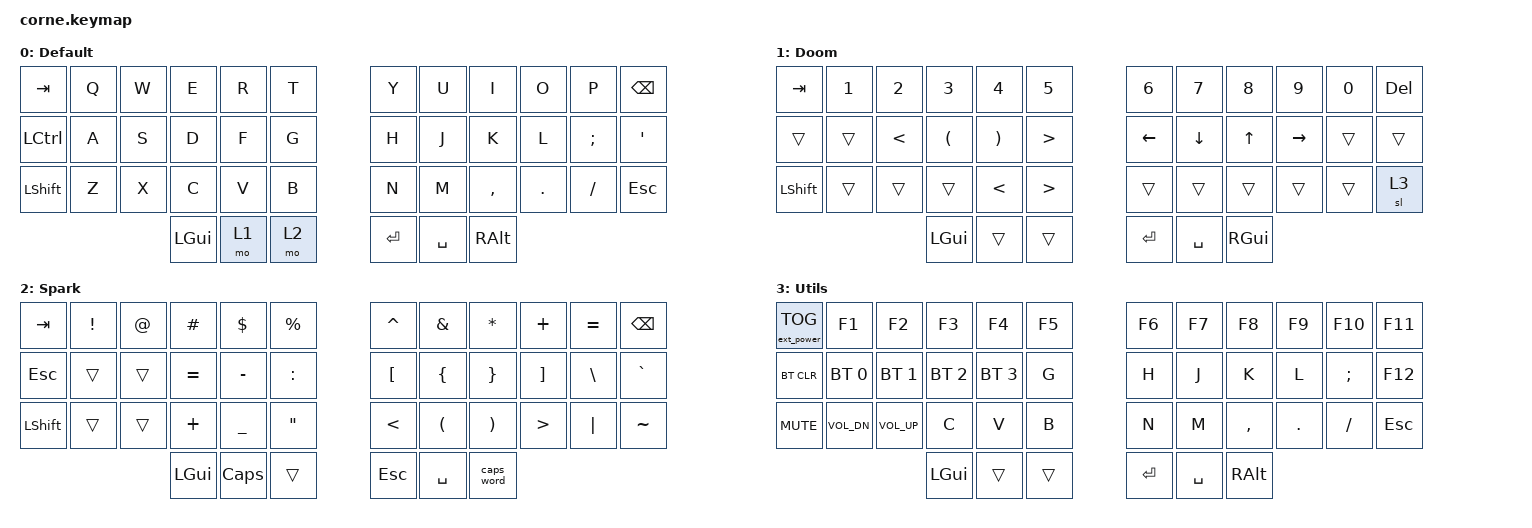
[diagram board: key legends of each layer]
/*
 * Copyright (c) 2020 The ZMK Contributors
 *
 * SPDX-License-Identifier: MIT
 */

#include <behaviors.dtsi>
#include <dt-bindings/zmk/keys.h>
#include <dt-bindings/zmk/bt.h>
#include <dt-bindings/zmk/ext_power.h>

/ {
        keymap {
                compatible = "zmk,keymap";

                default_layer {
                        display-name = "Default";
// -----------------------------------------------------------------------------------------
// |  TAB |  Q  |  W  |  E  |  R  |  T  |   |  Y  |  U  |  I  |  O  |  P  | BSPC |
// | CTRL |  A  |  S  |  D  |  F  |  G  |   |  H  |  J  |  K  |  L  |  ;  |  '   |
// | SHFT |  Z  |  X  |  C  |  V  |  B  |   |  N  |  M  |  ,  |  .  |  /  | ESC  |
//                    | GUI | LWR | SPC |   | ENT | RSE | ALT |
                        bindings = <
    &kp TAB    &kp Q     &kp W     &kp E      &kp R      &kp T        &kp Y      &kp U      &kp I      &kp O      &kp P     &kp BSPC
    &kp LCTRL  &kp A     &kp S     &kp D      &kp F      &kp G        &kp H      &kp J      &kp K      &kp L      &kp SEMI  &kp SQT
    &kp LSHFT  &kp Z     &kp X     &kp C      &kp V      &kp B        &kp N      &kp M      &kp COMMA  &kp DOT    &kp FSLH  &kp ESC
                                   &kp LGUI   &mo 1      &mo 2        &kp RET    &kp SPACE  &kp RALT
                        >;
                };

                lower_layer {
                        display-name = "Doom";
// -----------------------------------------------------------------------------------------
// |  TAB |  1  |  2  |  3  |  4  |  5  |   |  6  |  7  |  8  |  9  |  0  | DEL  |
// | TRNS |TRNS |  <  |  (  |  )  |  >  |   | LFT | DWN | UP  | RGT |TRNS | TRNS |
// | SHFT |TRNS |TRNS |TRNS |  <  |  >  |   |TRNS |TRNS |TRNS |TRNS |TRNS | MO 3 |
//                    | GUI |TRNS |TRNS |   | ENT | SPC |RGUI |
                        bindings = <
    &kp TAB    &kp N1    &kp N2    &kp N3     &kp N4     &kp N5       &kp N6     &kp N7     &kp N8     &kp N9     &kp N0 &kp DEL
    &trans     &trans    &kp LT    &kp LPAR   &kp RPAR   &kp GT       &kp LEFT   &kp DOWN   &kp UP     &kp RIGHT  &trans &trans
    &kp LSHFT  &trans    &trans    &trans     &kp LT     &kp GT       &trans     &trans     &trans     &trans     &trans &sl 3
                                   &kp LGUI   &trans     &trans       &kp RET    &kp SPACE  &kp RGUI
                        >;
                };

                raise_layer {
                        display-name = "Spark";
// -----------------------------------------------------------------------------------------
// |  TAB |  !  |  @  |  #  |  $  |  %  |   |  ^  |  &  |  *  |  +  |  =  | BSPC |
// |  ESC |TRNS |TRNS |  =  |  -  |  :  |   |  [  |  {  |  }  |  ]  |  \  |  `   |
// | SHFT |TRNS |TRNS |  +  |  _  |  "  |   |  <  |  (  |  )  |  >  |  |  |  ~   |
//                    | GUI |CAPS |TRNS |   | ESC | SPC |CPSWD|
                        bindings = <
    &kp TAB    &kp EXCL  &kp AT      &kp HASH   &kp DLLR   &kp PRCNT    &kp CARET  &kp AMPS   &kp ASTRK  &kp PLUS  &kp EQUAL  &kp BSPC
    &kp ESC    &trans    &trans      &kp EQUAL  &kp MINUS  &kp COLON    &kp LBKT   &kp LBRC   &kp RBRC   &kp RBKT  &kp BSLH   &kp GRAVE
    &kp LSHFT  &trans    &trans      &kp PLUS   &kp UNDER  &kp DQT      &kp LT     &kp LPAR   &kp RPAR   &kp GT    &kp PIPE   &kp TILDE
                                     &kp LGUI   &kp CAPS   &trans       &kp ESC    &kp SPACE  &caps_word
                        >;
                };

                fkey_layer {
                        display-name = "Utils";
// -----------------------------------------------------------------------------------------
// | EPWR | F1  | F2  | F3  | F4  | F5  |   | F6  | F7  | F8  | F9  | F10 | F11  |
// |BTCLR | BT0 | BT1 | BT2 | BT3 |  G  |   |  H  |  J  |  K  |  L  |  ;  | F12  |
// | MUTE | VOL-| VOL+|  C  |  V  |  B  |   |  N  |  M  |  ,  |  .  |  /  | ESC  |
//                    | GUI |TRNS |TRNS |   | ENT | SPC | ALT |
                        bindings = <
    &ext_power EP_TOG  &kp F1         &kp F2         &kp F3         &kp F4         &kp F5       &kp F6     &kp F7     &kp F8     &kp F9     &kp F10    &kp F11
    &bt BT_CLR         &bt BT_SEL 0   &bt BT_SEL 1   &bt BT_SEL 2   &bt BT_SEL 3   &kp G        &kp H      &kp J      &kp K      &kp L      &kp SEMI   &kp F12
    &kp C_MUTE         &kp C_VOL_DN   &kp C_VOL_UP   &kp C          &kp V          &kp B        &kp N      &kp M      &kp COMMA  &kp DOT    &kp FSLH   &kp ESC
                                                     &kp LGUI       &trans         &trans       &kp RET    &kp SPACE  &kp RALT
                        >;
                };
        };
};
